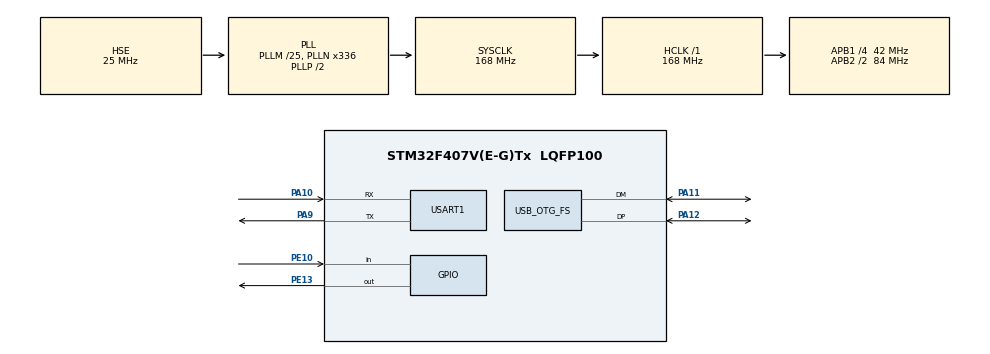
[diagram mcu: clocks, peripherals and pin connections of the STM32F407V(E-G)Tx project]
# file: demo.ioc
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Dma.Request0=USART1_RX
Dma.Request1=USART1_TX
Dma.USART1_RX.0.Direction=DMA_PERIPH_TO_MEMORY
Dma.USART1_RX.0.FIFOMode=DMA_FIFOMODE_DISABLE
Dma.USART1_RX.0.Instance=DMA2_Stream2
Dma.USART1_RX.0.MemDataAlignment=DMA_MDATAALIGN_BYTE
Dma.USART1_RX.0.MemInc=DMA_MINC_ENABLE
Dma.USART1_RX.0.Mode=DMA_CIRCULAR
Dma.USART1_RX.0.PeriphDataAlignment=DMA_PDATAALIGN_BYTE
Dma.USART1_RX.0.PeriphInc=DMA_PINC_DISABLE
Dma.USART1_RX.0.Priority=DMA_PRIORITY_LOW
Dma.USART1_TX.1.Direction=DMA_MEMORY_TO_PERIPH
Dma.USART1_TX.1.FIFOMode=DMA_FIFOMODE_DISABLE
Dma.USART1_TX.1.Instance=DMA2_Stream7
Dma.USART1_TX.1.MemDataAlignment=DMA_MDATAALIGN_BYTE
Dma.USART1_TX.1.MemInc=DMA_MINC_ENABLE
Dma.USART1_TX.1.Mode=DMA_NORMAL
Dma.USART1_TX.1.PeriphDataAlignment=DMA_PDATAALIGN_BYTE
Dma.USART1_TX.1.PeriphInc=DMA_PINC_DISABLE
Dma.USART1_TX.1.Priority=DMA_PRIORITY_LOW
FATFS._MAX_SS=4096
Mcu.Family=STM32F4
Mcu.Name=STM32F407V(E-G)Tx
Mcu.Package=LQFP100
NVIC.DMA2_Stream2_IRQn=true\:0\:0\:false\:false\:true\:false\:true\:true
NVIC.DMA2_Stream7_IRQn=true\:0\:0\:false\:false\:true\:false\:true\:true
NVIC.OTG_FS_IRQn=true\:1\:0\:true\:false\:true\:false\:true\:true
NVIC.PriorityGroup=NVIC_PRIORITYGROUP_4
NVIC.TIM1_TRG_COM_TIM11_IRQn=true\:0\:0\:true\:false\:true\:true\:true\:true
NVIC.USART1_IRQn=true\:0\:0\:false\:false\:true\:true\:true\:true
PA10.Mode=Asynchronous
PA10.Signal=USART1_RX
PA11.Mode=Device_Only
PA11.Signal=USB_OTG_FS_DM
PA12.Mode=Device_Only
PA12.Signal=USB_OTG_FS_DP
PA13.Mode=Serial_Wire
PA13.Signal=SYS_JTMS-SWDIO
PA14.Mode=Serial_Wire
PA14.Signal=SYS_JTCK-SWCLK
PA9.Mode=Asynchronous
PA9.Signal=USART1_TX
PE10.Signal=GPIO_Input
PE13.Signal=GPIO_Output
PH0-OSC_IN.Mode=HSE-External-Oscillator
PH0-OSC_IN.Signal=RCC_OSC_IN
PH1-OSC_OUT.Mode=HSE-External-Oscillator
PH1-OSC_OUT.Signal=RCC_OSC_OUT
ProjectManager.HeapSize=0x2000
ProjectManager.StackSize=0x2000
ProjectManager.TargetToolchain=MDK-ARM V5
RCC.48MHZClocksFreq_Value=48000000
RCC.AHBFreq_Value=168000000
RCC.APB1CLKDivider=RCC_HCLK_DIV4
RCC.APB1Freq_Value=42000000
RCC.APB1TimFreq_Value=84000000
RCC.APB2CLKDivider=RCC_HCLK_DIV2
RCC.APB2Freq_Value=84000000
RCC.APB2TimFreq_Value=168000000
RCC.CortexFreq_Value=168000000
RCC.HCLKFreq_Value=168000000
RCC.HSE_VALUE=25000000
RCC.HSI_VALUE=16000000
RCC.LSE_VALUE=32768
RCC.PLLM=25
RCC.PLLN=336
RCC.PLLQ=7
RCC.SYSCLKFreq_VALUE=168000000
RCC.SYSCLKSource=RCC_SYSCLKSOURCE_PLLCLK
RCC.VCOOutputFreq_Value=336000000
TIM11.AutoReloadPreload=TIM_AUTORELOAD_PRELOAD_ENABLE
TIM11.Period=14000-1
TIM11.Prescaler=12-1
USART1.VirtualMode=VM_ASYNC
USB_DEVICE.CLASS_NAME_FS=MSC
USB_DEVICE.MSC_MEDIA_PACKET-MSC_FS=4096
USB_DEVICE.USBD_MAX_NUM_INTERFACES-MSC_FS=2
USB_DEVICE.VirtualMode-MSC_FS=Msc
USB_DEVICE.VirtualModeFS=Msc_FS
USB_OTG_FS.VirtualMode=Device_Only
VP_FATFS_VS_Generic.Mode=User_defined
VP_TIM11_VS_ClockSourceINT.Mode=Enable_Timer
VP_USB_DEVICE_VS_USB_DEVICE_MSC_FS.Mode=MSC_FS
board=custom

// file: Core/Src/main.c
/* USER CODE BEGIN Header */
/**
 ******************************************************************************
 * @file           : main.c
 * @brief          : Main program body
 ******************************************************************************
 * @attention
 *
 * Copyright (c) 2024 STMicroelectronics.
 * All rights reserved.
 *
 * This software is licensed under terms that can be found in the LICENSE file
 * in the root directory of this software component.
 * If no LICENSE file comes with this software, it is provided AS-IS.
 *
 ******************************************************************************
 */
/* USER CODE END Header */
#include "main.h"
#include "dma.h"
#include "fatfs.h"
#include "tim.h"
#include "usart.h"
#include "usb_device.h"
#include "gpio.h"

void SystemClock_Config(void);

/* USER CODE BEGIN 0 */

extern void DelayInit();
#define MX_TIM11_Init() DelayInit()

void HAL_TIM_PeriodElapsedCallback(TIM_HandleTypeDef* htim)
{}

#include "hwif.h"
#include "spi_w25qxx.h"

extern spi_mst_t    spi;
extern spi_w25qxx_t w25qxx;

/* USER CODE END 0 */

int main(void)
{

    /* MCU Configuration--------------------------------------------------------*/

    /* Reset of all peripherals, Initializes the Flash interface and the Systick. */
    HAL_Init();

    /* Configure the system clock */
    SystemClock_Config();

    /* USER CODE BEGIN SysInit */
    __HAL_RCC_GPIOA_CLK_ENABLE();
    __HAL_RCC_GPIOB_CLK_ENABLE();
    __HAL_RCC_GPIOC_CLK_ENABLE();
    __HAL_RCC_GPIOD_CLK_ENABLE();
    __HAL_RCC_GPIOE_CLK_ENABLE();
    __HAL_RCC_GPIOF_CLK_ENABLE();
    /* USER CODE END SysInit */

    /* Initialize all configured peripherals */
    MX_GPIO_Init();
    MX_DMA_Init();
    MX_TIM11_Init();
    MX_USART1_UART_Init();
    MX_USB_DEVICE_Init();
    MX_FATFS_Init();
    /* USER CODE BEGIN 2 */
    SPI_Master_Init(&spi, 500000, SPI_DUTYCYCLE_50_50, W25QXX_SPI_TIMING | SPI_FLAG_SOFT_CS);
    if (W25Qxx_Init(&w25qxx) == ERR_NONE) {}

			#if 1
		//	W25Qxx_Test();
		//W25Qxx_EraseSector(&w25qxx, 0);
			#else
  InitFileSys();
			#endif
printf("run");
    /* USER CODE END 2 */

    /* Infinite loop */
    while (1)
    {

    }
}

void SystemClock_Config(void)
{
    RCC_OscInitTypeDef RCC_OscInitStruct = {0};
    RCC_ClkInitTypeDef RCC_ClkInitStruct = {0};

    /** Configure the main internal regulator output voltage
     */
    __HAL_RCC_PWR_CLK_ENABLE();
    __HAL_PWR_VOLTAGESCALING_CONFIG(PWR_REGULATOR_VOLTAGE_SCALE1);

    /** Initializes the RCC Oscillators according to the specified parameters
     * in the RCC_OscInitTypeDef structure.
     */
    RCC_OscInitStruct.OscillatorType = RCC_OSCILLATORTYPE_HSE;
    RCC_OscInitStruct.HSEState       = RCC_HSE_ON;
    RCC_OscInitStruct.PLL.PLLState   = RCC_PLL_ON;
    RCC_OscInitStruct.PLL.PLLSource  = RCC_PLLSOURCE_HSE;
    RCC_OscInitStruct.PLL.PLLM       = 25;
    RCC_OscInitStruct.PLL.PLLN       = 336;
    RCC_OscInitStruct.PLL.PLLP       = RCC_PLLP_DIV2;
    RCC_OscInitStruct.PLL.PLLQ       = 7;
    if (HAL_RCC_OscConfig(&RCC_OscInitStruct) != HAL_OK)
    {
        Error_Handler();
    }

    /** Initializes the CPU, AHB and APB buses clocks
     */
    RCC_ClkInitStruct.ClockType      = RCC_CLOCKTYPE_HCLK | RCC_CLOCKTYPE_SYSCLK | RCC_CLOCKTYPE_PCLK1 | RCC_CLOCKTYPE_PCLK2;
    RCC_ClkInitStruct.SYSCLKSource   = RCC_SYSCLKSOURCE_PLLCLK;
    RCC_ClkInitStruct.AHBCLKDivider  = RCC_SYSCLK_DIV1;
    RCC_ClkInitStruct.APB1CLKDivider = RCC_HCLK_DIV4;
    RCC_ClkInitStruct.APB2CLKDivider = RCC_HCLK_DIV2;

    if (HAL_RCC_ClockConfig(&RCC_ClkInitStruct, FLASH_LATENCY_5) != HAL_OK)
    {
        Error_Handler();
    }
}

void Error_Handler(void)
{
    __disable_irq();
    while (1)
    {
    }
}
